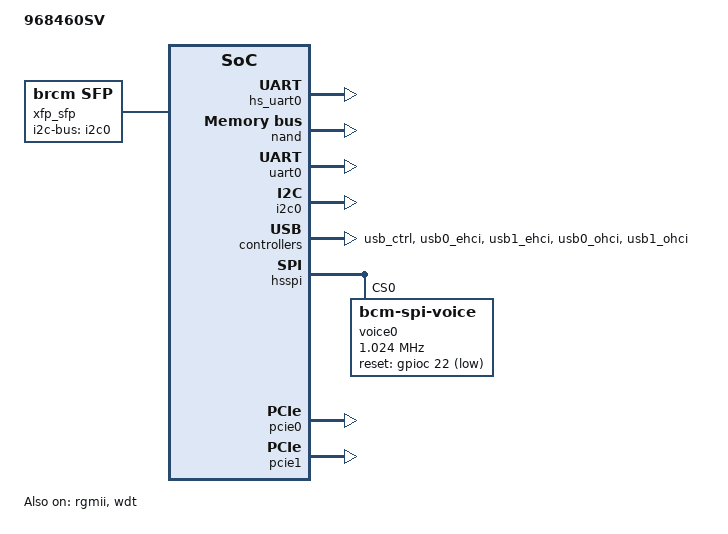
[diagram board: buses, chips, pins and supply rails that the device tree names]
#include "inc/68460.dtsi"
#include "../bcm_voice.dtsi"

/ {
    memory_controller {
        memcfg = <(BP_DDR_SPEED_800_11_11_11  | \
                   BP_DDR_TOTAL_SIZE_256MB    | \
                   BP_DDR_DEVICE_WIDTH_16     | \
                   BP_DDR_TOTAL_WIDTH_16BIT)>;
    };
};

/ {
    model = "968460SV";

    xfp_sfp: xfp_sfp {
        compatible = "brcm,sfp";
        pinctrl-names = "default", "tx-sd";
        pinctrl-0 = <&pon_lbe_p_pin_67>;
        pinctrl-1 = <&pon_lbe_p_pin_67 &b_rogue_onu_in_pin_14>;
        i2c-bus = <&i2c0>;
    };

    wan_serdes {
            compatible = "brcm,pon-drv";
            trx = <&xfp_sfp>;
    };
};

&hs_uart0 {
    pinctrl-0 = <&uart2_sin_pin_14 &uart2_sout_pin_15>;
	status = "okay";
};

&rgmii {
        status = "okay";
};

&mdio {
        phy1:1 {
                status = "okay";
        };

        phy2:2 {
                status = "okay";
        };

        phy3:3 {
                status = "okay";
        };

        phy4:4 {
                status = "okay";
        };

        phy_rgmii: rgmii {
                reg = <7>;
                tx-delay;
                status = "okay";
        };
};

&switch0 {
        pinctrl-names = "default", "rgmii";
        pinctrl-0 = <&per_mdc_pin_54 &per_mdio_pin_55 &rgmii_pins>;
        pinctrl-1 = <&rgmii_pins>;

        ports {
                port0@0 {
                        network-leds = <&led0>;
                        status = "okay";
                };

                port1@1 {
                        network-leds = <&led1>;
                        status = "okay";
                };

                port2@2 {
                        network-leds = <&led2>;
                        status = "okay";
                };

                port3@3 {
                        network-leds = <&led3>;
                        status = "okay";
                };

                port4@4 {
                        mii-pinctrl-state = "rgmii";
                        status = "okay";
                };
        };
};

&led_ctrl {
    pinctrl-names = "default";
    pinctrl-0 = <&a_ser_led_clk_pin_18 &a_ser_led_data_pin_23 &a_ser_led_mask_pin_25>;
    serial-shifters-installed = <4>;

    led0: port_0-led_0-bit_0 {
              active_low;
              link = <LED_SPEED_GBE>;
              activity = <LED_SPEED_GBE>;
              status = "okay";
          };
    led1: port_1-led_0-bit_1 {
              active_low;
              link = <LED_SPEED_GBE>;
              activity = <LED_SPEED_GBE>;
              status = "okay";
          };
    led2: port_2-led_0-bit_2 {
              active_low;
              link = <LED_SPEED_GBE>;
              activity = <LED_SPEED_GBE>;
              status = "okay";
          };
    led3: port_3-led_0-bit_3 {
              active_low;
              link = <LED_SPEED_GBE>;
              activity = <LED_SPEED_GBE>;
              status = "okay";
          };

};

&nand {
	status = "okay";
};
&uart0 {
	status = "okay";
};
&hs_uart0 {
   status = "okay";
};
&wdt {
	status = "okay";
};
&i2c0 {
    pinctrl-names = "default";
    pinctrl-0 = <&i2c_scl_pin_68 &i2c_sda_pin_69>;
	status = "okay";
};
&usb_ctrl {
    pinctrl-names = "default";
    pinctrl-0 = <&usb0_pwr_pins &usb1_pwr_pins>;
	status = "okay";
};
&usb0_ehci {
	status = "okay";
};
&usb1_ehci {
	status = "okay";
};
&usb0_ohci {
	status = "okay";
};
&usb1_ohci {
	status = "okay";
};
&hsspi {
	status = "okay";
	pinctrl-0 = <&spim_group_pins>;
	pinctrl-names = "default";
	voice0 {
		pinctrl-0 = <&a_spim_ss0_b_pin_65>;
		pinctrl-names = "default";
		compatible = "bcm-spi-voice";
		reg = <0>; /* chip select 0 */
		spi-max-frequency = <1024000>;
		reset-gpio = <&gpioc 22 GPIO_ACTIVE_LOW>;
		spi-index = <0>;/* voice header index */
	};
};

&pcie0 {
	status = "okay";
};
&pcie1 {
	status = "okay";
};
&bcm_voice{
	sliclist = SLICSLAC_LIST_COMMON_NOFXO;
 };

